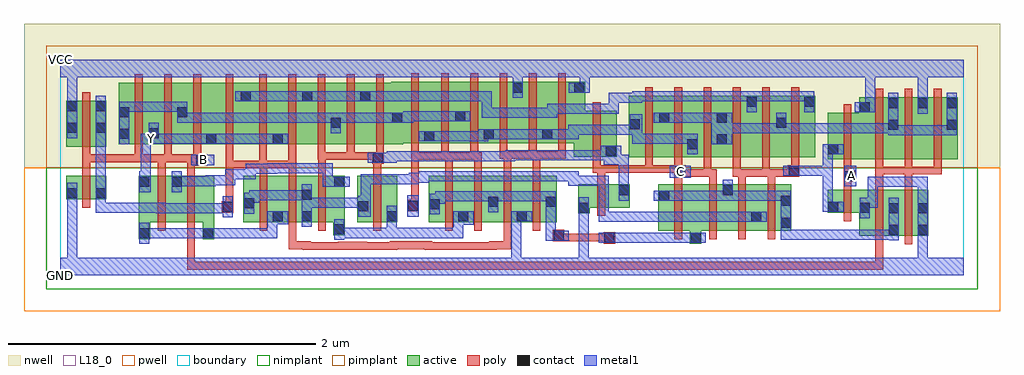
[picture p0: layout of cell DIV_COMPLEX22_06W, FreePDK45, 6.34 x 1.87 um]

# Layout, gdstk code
import gdstk
lib = gdstk.Library(unit=1e-6, precision=1e-09)
def R(c, l, rs):  # rectangles x0, y0, x1, y1
    for r in rs: c.add(gdstk.rectangle(r[:2], r[2:], *l))
def A(c, l, x, y, w, h, nx, ny, dx, dy):  # array of equal rectangles
    R(c, l, [(x+i*dx, y+j*dy, x+i*dx+w, y+j*dy+h) for i in range(nx) for j in range(ny)])
active = (1, 0)
pwell = (2, 0)
nwell = (3, 0)
nimplant = (4, 0)
pimplant = (5, 0)
poly = (9, 0)
contact = (10, 0)
metal1 = (11, 0)
L18_0 = (18, 0)
boundary = (235, 0)

div_complex22_06w = lib.new_cell('DIV_COMPLEX22_06W')
R(div_complex22_06w, active, [(4.09,0.205,4.165,0.42), (0.51,0.235,0.585,0.645), (0.925,0.235,1,0.535), (5.19,0.257,5.452,0.557), (5.377,0.257,5.64,0.557), (5.377,0.257,5.452,0.482), (5.565,0.257,5.64,0.557), (1.775,0.26,1.85,0.645), (3.885,0.29,4.165,0.59), (4.09,0.29,4.375,0.59), (4.3,0.29,4.56,0.59), (4.485,0.29,4.75,0.59), (4.485,0.29,4.56,0.517), (4.675,0.29,4.75,0.59), (4.3,0.33,4.375,0.59), (5.19,0.33,5.265,0.482), (0.51,0.345,0.795,0.645), (0.72,0.345,0.795,0.645), (0.72,0.345,1,0.645), (1.19,0.345,1.265,0.645), (1.19,0.345,1.45,0.645), (1.375,0.345,1.64,0.645), (1.375,0.345,1.45,0.55), (1.565,0.345,1.64,0.645), (1.565,0.345,1.85,0.645), (1.93,0.345,2.005,0.645), (1.93,0.345,2.19,0.645), (2.115,0.345,2.19,0.55), (2.395,0.345,2.657,0.645), (2.395,0.345,2.47,0.55), (2.582,0.345,2.657,0.42), (2.582,0.345,2.85,0.645), (2.775,0.345,3.035,0.645), (2.775,0.345,2.85,0.55), (2.96,0.345,3.225,0.645), (2.96,0.345,3.035,0.42), (3.15,0.345,3.225,0.645), (3.885,0.345,3.96,0.59), (3.365,0.402,3.44,0.59), (4.985,0.407,5.265,0.557), (4.985,0.407,5.06,0.557), (3.365,0.44,3.7,0.59), (3.625,0.46,3.7,0.59), (0.04,0.495,0.115,0.645), (0.04,0.495,0.3,0.645), (0.225,0.495,0.3,0.645), (4.985,0.755,5.265,1.055), (5.19,0.755,5.45,1.155), (5.375,0.755,5.45,1.155), (5.375,0.755,5.64,1.155), (5.565,0.755,5.83,1.155), (5.755,0.755,5.83,1.155), (3.695,0.765,3.96,1.165), (3.695,0.765,3.77,1.07), (3.885,0.765,4.145,1.165), (4.07,0.765,4.335,1.165), (4.26,0.765,4.335,1.07), (4.26,0.765,4.53,1.165), (4.455,0.765,4.53,1.165), (4.455,0.765,4.72,1.165), (4.645,0.765,4.905,1.165), (4.645,0.765,4.72,1.07), (3.335,0.77,3.615,1.07), (3.54,0.77,3.615,0.917), (4.985,0.78,5.06,0.94), (4.07,0.815,4.145,0.94), (0.04,0.835,0.115,1.135), (0.04,0.835,0.3,1.135), (0.225,0.835,0.3,1.135), (0.38,0.85,0.645,1.25), (0.38,0.85,0.455,1.19), (0.57,0.85,0.83,1.25), (0.755,0.85,1.02,1.25), (0.945,0.85,1.02,1.07), (0.945,0.85,1.242,1.25), (1.167,0.85,1.45,1.25), (1.375,0.85,1.642,1.25), (1.375,0.85,1.45,0.94), (1.567,0.85,1.827,1.25), (1.567,0.85,1.642,1.2), (1.752,0.85,1.827,1.07), (1.752,0.85,2.02,1.25), (1.945,0.85,2.227,1.25), (3.885,0.85,3.96,1.07), (2.152,0.857,2.435,1.257), (2.152,0.857,2.227,1.07), (2.36,0.857,2.635,1.257), (2.56,0.857,2.82,1.257), (2.745,0.857,3.01,1.257), (2.935,0.857,3.2,1.257), (3.125,0.857,3.41,1.257), (2.36,0.865,2.435,0.94), (2.745,0.865,2.82,1.07), (3.125,0.865,3.2,1.07), (5.19,0.865,5.265,1.13), (5.565,0.865,5.64,1.155), (0.57,0.885,0.645,1.07), (2.56,0.885,2.635,1.07), (0.755,0.907,0.83,1.2), (1.167,0.907,1.242,1.2), (1.945,0.907,2.02,1.2), (2.935,0.907,3.01,1.257), (3.335,0.907,3.41,1.257), (4.83,0.907,4.905,1.165)])
R(div_complex22_06w, pwell, [(-0.235,-0.235,6.105,0.7)])
R(div_complex22_06w, nwell, [(-0.235,0.7,6.105,1.635)])
R(div_complex22_06w, nimplant, [(-0.09,-0.09,5.96,0.7)])
R(div_complex22_06w, pimplant, [(-0.09,0.7,5.96,1.49)])
A(div_complex22_06w, poly, 4.215, 0.235, 0.05, 0.41, 3, 1, 0.19, 0)
A(div_complex22_06w, poly, 1.295, 0.29, 0.05, 0.41, 3, 1, 0.19, 0)
A(div_complex22_06w, poly, 2.5, 0.29, 0.05, 0.41, 4, 1, 0.19, 0)
A(div_complex22_06w, poly, 4.215, 0.595, 0.05, 0.095, 3, 1, 0.19, 0)
A(div_complex22_06w, poly, 4.18, 0.64, 0.05, 0.12, 3, 1, 0.19, 0)
A(div_complex22_06w, poly, 4.18, 0.64, 0.085, 0.05, 3, 1, 0.19, 0)
A(div_complex22_06w, poly, 5.295, 0.655, 0.05, 0.095, 3, 1, 0.19, 0)
A(div_complex22_06w, poly, 5.295, 0.7, 0.05, 0.51, 3, 1, 0.19, 0)
A(div_complex22_06w, poly, 3.8, 0.71, 0.05, 0.51, 6, 1, 0.19, 0)
A(div_complex22_06w, poly, 0.485, 0.735, 0.05, 0.11, 3, 1, 0.19, 0)
A(div_complex22_06w, poly, 1.672, 0.75, 0.05, 0.095, 3, 1, 0.19, 0)
A(div_complex22_06w, poly, 2.855, 0.757, 0.05, 0.095, 3, 1, 0.19, 0)
A(div_complex22_06w, poly, 0.485, 0.795, 0.05, 0.51, 3, 1, 0.19, 0)
A(div_complex22_06w, poly, 1.292, 0.795, 0.05, 0.51, 5, 1, 0.19, 0)
A(div_complex22_06w, poly, 2.475, 0.802, 0.05, 0.51, 5, 1, 0.19, 0)
R(div_complex22_06w, poly, [(0.825,0.037,0.875,0.087), (0.825,0.037,1.125,0.087), (0.825,0.037,0.875,0.34), (1.075,0.037,1.125,0.087), (1.075,0.037,1.125,0.087), (1.075,0.037,1.125,0.087), (1.075,0.037,1.257,0.087), (1.207,0.037,1.257,0.087), (1.207,0.037,1.257,0.087), (1.207,0.037,1.257,0.087), (1.207,0.037,1.257,0.087), (1.207,0.037,1.257,0.087), (1.207,0.037,1.495,0.087), (1.445,0.037,1.495,0.087), (1.445,0.037,1.495,0.087), (1.445,0.037,1.495,0.087), (1.445,0.037,1.725,0.087), (1.675,0.037,1.725,0.087), (1.675,0.037,1.725,0.087), (1.675,0.037,1.725,0.087), (1.675,0.037,1.857,0.087), (1.807,0.037,1.857,0.087), (1.807,0.037,1.857,0.087), (1.807,0.037,1.857,0.087), (1.807,0.037,2.057,0.087), (2.007,0.037,2.057,0.087), (2.007,0.037,2.057,0.087), (2.007,0.037,2.057,0.087), (2.007,0.037,2.19,0.087), (2.14,0.037,2.19,0.087), (2.14,0.037,2.322,0.087), (2.272,0.037,2.322,0.087), (2.272,0.037,2.322,0.087), (2.272,0.037,2.322,0.087), (2.272,0.037,2.582,0.087), (2.532,0.037,2.582,0.087), (2.532,0.037,2.582,0.087), (2.532,0.037,2.582,0.087), (2.532,0.037,2.772,0.087), (2.722,0.037,2.772,0.087), (2.722,0.037,2.932,0.087), (2.882,0.037,2.932,0.087), (2.882,0.037,2.932,0.087), (2.882,0.037,2.932,0.087), (2.882,0.037,3.117,0.087), (3.067,0.037,3.117,0.087), (3.067,0.037,3.117,0.087), (3.067,0.037,3.117,0.087), (3.067,0.037,3.362,0.087), (3.312,0.037,3.362,0.087), (3.312,0.037,3.362,0.087), (3.312,0.037,3.362,0.087), (3.312,0.037,3.362,0.087), (3.312,0.037,3.362,0.087), (3.312,0.037,3.495,0.087), (3.445,0.037,3.495,0.087), (3.445,0.037,3.717,0.087), (3.667,0.037,3.717,0.087), (3.667,0.037,3.717,0.087), (3.667,0.037,3.717,0.087), (3.667,0.037,3.85,0.087), (3.8,0.037,3.85,0.087), (3.8,0.037,3.85,0.087), (3.8,0.037,3.85,0.087), (3.8,0.037,3.982,0.087), (3.932,0.037,3.982,0.087), (3.932,0.037,3.982,0.087), (3.932,0.037,3.982,0.087), (3.932,0.037,4.287,0.087), (4.237,0.037,4.287,0.087), (4.237,0.037,4.287,0.087), (4.237,0.037,4.287,0.087), (4.237,0.037,4.42,0.087), (4.37,0.037,4.42,0.087), (4.37,0.037,4.42,0.087), (4.37,0.037,4.42,0.087), (4.37,0.037,4.645,0.087), (4.595,0.037,4.645,0.087), (4.595,0.037,4.645,0.087), (4.595,0.037,4.645,0.087), (4.595,0.037,4.777,0.087), (4.727,0.037,4.777,0.087), (4.727,0.037,4.91,0.087), (4.86,0.037,4.91,0.087), (4.86,0.037,4.91,0.087), (4.86,0.037,4.91,0.087), (4.86,0.037,5.042,0.087), (4.992,0.037,5.042,0.087), (4.992,0.037,5.042,0.087), (4.992,0.037,5.042,0.087), (4.992,0.037,5.345,0.087), (5.295,0.037,5.345,0.087), (5.295,0.037,5.345,0.087), (5.295,0.037,5.345,0.087), (5.295,0.037,5.345,0.252), (1.577,0.165,1.627,0.22), (1.577,0.165,1.725,0.215), (1.675,0.165,1.725,0.215), (1.675,0.165,1.857,0.215), (1.807,0.165,1.857,0.217), (1.94,0.165,2.045,0.215), (1.94,0.165,1.99,0.217), (1.995,0.165,2.045,0.215), (1.995,0.165,2.19,0.215), (2.14,0.165,2.19,0.22), (2.367,0.165,2.417,0.22), (2.367,0.165,2.462,0.215), (2.412,0.165,2.462,0.215), (2.412,0.165,2.642,0.215), (2.592,0.165,2.642,0.215), (2.592,0.165,2.772,0.215), (2.722,0.165,2.772,0.215), (2.722,0.165,2.837,0.215), (2.787,0.165,2.837,0.22), (1.807,0.167,1.857,0.217), (1.807,0.167,1.857,0.217), (1.807,0.167,1.99,0.217), (1.485,0.17,1.535,0.22), (1.485,0.17,1.535,0.34), (1.485,0.17,1.627,0.22), (2.14,0.17,2.19,0.22), (2.14,0.17,2.19,0.22), (2.14,0.17,2.417,0.22), (2.787,0.17,2.93,0.22), (2.88,0.17,2.93,0.22), (2.88,0.17,2.93,0.34), (5.295,0.202,5.345,0.612), (5.485,0.202,5.535,0.612), (3.53,0.205,3.605,0.28), (3.2,0.22,3.275,0.295), (3.225,0.22,3.58,0.27), (3.53,0.22,3.58,0.27), (3.53,0.22,3.58,0.27), (3.99,0.235,4.04,0.645), (0.635,0.29,0.685,0.7), (0.825,0.29,0.875,0.7), (2.035,0.29,2.085,0.7), (5.09,0.352,5.14,0.612), (3.49,0.385,3.54,0.645), (1.05,0.407,1.125,0.482), (2.255,0.415,2.33,0.49), (1.075,0.432,1.125,0.745), (0.145,0.44,0.195,0.7), (2.28,0.44,2.33,0.8), (5.09,0.562,5.14,0.657), (5.295,0.562,5.345,0.705), (5.485,0.562,5.535,0.705), (3.49,0.595,3.54,0.715), (3.99,0.595,4.04,0.69), (5.09,0.607,5.165,0.682), (5.09,0.632,5.14,0.75), (3.99,0.64,4.065,0.715), (4.015,0.64,4.23,0.69), (4.18,0.64,4.23,0.69), (4.18,0.64,4.23,0.69), (4.405,0.64,4.61,0.69), (4.56,0.64,4.61,0.69), (4.56,0.64,4.61,0.69), (4.595,0.64,4.777,0.69), (4.727,0.64,4.777,0.69), (4.727,0.64,4.777,0.69), (4.727,0.64,4.802,0.715), (0.145,0.65,0.195,0.785), (0.635,0.65,0.685,0.785), (0.825,0.65,0.875,0.76), (1.295,0.65,1.345,0.745), (1.485,0.65,1.535,0.745), (1.675,0.65,1.725,0.8), (2.035,0.65,2.085,0.775), (2.5,0.65,2.55,0.8), (2.69,0.65,2.74,0.8), (2.88,0.65,2.93,0.807), (3.07,0.65,3.12,0.807), (5.295,0.655,5.345,0.705), (5.295,0.655,5.535,0.705), (5.485,0.655,5.535,0.705), (5.485,0.655,5.535,0.705), (5.485,0.655,5.535,0.705), (5.485,0.655,5.725,0.705), (5.675,0.655,5.725,0.705), (5.675,0.655,5.725,0.705), (5.675,0.655,5.725,0.705), (3.46,0.665,3.51,0.765), (3.46,0.665,3.54,0.715), (3.49,0.665,3.717,0.715), (3.667,0.665,3.717,0.715), (3.667,0.665,3.85,0.715), (3.8,0.665,3.85,0.76), (3.8,0.665,3.85,0.715), (3.8,0.665,3.85,0.715), (3.8,0.665,3.85,0.715), (3.8,0.665,4.04,0.715), (3.99,0.665,4.04,0.76), (3.99,0.665,4.04,0.715), (3.99,0.665,4.04,0.715), (4.75,0.665,4.8,0.76), (1.075,0.695,1.125,0.745), (1.075,0.695,1.125,0.745), (1.075,0.695,1.125,0.745), (1.075,0.695,1.125,0.845), (1.075,0.695,1.342,0.745), (1.292,0.695,1.342,0.745), (1.292,0.695,1.342,0.745), (1.292,0.695,1.342,0.845), (1.292,0.695,1.345,0.745), (1.295,0.695,1.495,0.745), (1.445,0.695,1.495,0.745), (1.445,0.695,1.532,0.745), (1.482,0.695,1.532,0.845), (1.482,0.695,1.535,0.745), (5.09,0.7,5.14,1.11), (0.825,0.71,0.955,0.785), (3.46,0.715,3.51,1.125), (2.027,0.725,2.102,0.8), (0.145,0.735,0.195,0.83), (0.145,0.735,0.195,0.785), (0.145,0.735,0.195,0.785), (0.145,0.735,0.195,0.785), (0.145,0.735,0.535,0.785), (0.485,0.735,0.535,0.785), (0.485,0.735,0.535,0.785), (0.485,0.735,0.535,0.785), (0.485,0.735,0.685,0.785), (0.635,0.735,0.685,0.785), (0.635,0.735,0.685,0.785), (0.635,0.735,0.725,0.785), (0.675,0.735,0.875,0.785), (0.825,0.735,0.875,0.785), (0.825,0.735,0.875,0.785), (1.672,0.75,1.725,0.8), (1.675,0.75,1.857,0.8), (1.807,0.75,1.857,0.8), (1.807,0.75,1.912,0.8), (1.862,0.75,1.912,0.8), (1.862,0.75,2.057,0.8), (2.007,0.75,2.057,0.8), (2.007,0.75,2.077,0.8), (2.28,0.75,2.33,0.8), (2.28,0.75,2.33,0.8), (2.28,0.75,2.33,0.8), (2.28,0.75,2.33,0.8), (2.28,0.75,2.33,0.8), (2.28,0.75,2.33,0.852), (2.28,0.75,2.525,0.8), (2.475,0.75,2.55,0.8), (2.475,0.75,2.525,0.852), (2.5,0.75,2.55,0.8), (2.5,0.75,2.55,0.8), (2.5,0.75,2.715,0.8), (2.665,0.75,2.74,0.8), (2.665,0.75,2.715,0.852), (2.855,0.757,2.93,0.807), (2.88,0.757,3.095,0.807), (3.045,0.757,3.095,0.807), (3.045,0.757,3.095,0.807), (3.045,0.757,3.12,0.807), (3.07,0.757,3.285,0.807), (3.235,0.757,3.285,0.807), (3.235,0.757,3.285,0.807), (3.235,0.757,3.285,0.807), (0.145,0.78,0.195,1.19), (1.075,0.795,1.125,1.305), (2.28,0.802,2.33,1.312)])
A(div_complex22_06w, contact, 5.38, 1.085, 0.065, 0.065, 3, 1, 0.19, 0)
R(div_complex22_06w, contact, [(3.535,0.21,3.6,0.275), (4.095,0.21,4.16,0.275), (3.205,0.225,3.27,0.29), (0.515,0.24,0.58,0.305), (0.93,0.24,0.995,0.305), (5.382,0.262,5.447,0.327), (5.57,0.262,5.635,0.327), (1.78,0.265,1.845,0.33), (4.68,0.31,4.745,0.375), (4.49,0.347,4.555,0.412), (1.38,0.35,1.445,0.415), (1.57,0.35,1.635,0.415), (2.12,0.35,2.185,0.415), (2.587,0.35,2.652,0.415), (2.965,0.35,3.03,0.415), (5.382,0.402,5.447,0.467), (5.57,0.402,5.635,0.467), (5.195,0.405,5.26,0.47), (3.37,0.407,3.435,0.472), (1.055,0.412,1.12,0.477), (4.99,0.412,5.055,0.477), (1.935,0.415,2,0.48), (2.26,0.42,2.325,0.485), (2.4,0.43,2.465,0.495), (1.195,0.435,1.26,0.5), (2.78,0.445,2.845,0.51), (3.155,0.445,3.22,0.51), (4.68,0.45,4.745,0.515), (3.89,0.485,3.955,0.55), (1.57,0.49,1.635,0.555), (0.045,0.5,0.11,0.565), (0.23,0.5,0.295,0.565), (3.63,0.52,3.695,0.585), (4.305,0.52,4.37,0.585), (0.515,0.575,0.58,0.64), (0.725,0.575,0.79,0.64), (1.78,0.575,1.845,0.64), (5.095,0.612,5.16,0.677), (3.995,0.645,4.06,0.71), (4.732,0.645,4.797,0.71), (0.885,0.715,0.95,0.78), (2.032,0.73,2.097,0.795), (3.545,0.775,3.61,0.84), (4.99,0.785,5.055,0.85), (4.075,0.82,4.14,0.885), (4.265,0.852,4.33,0.917), (0.95,0.855,1.015,0.92), (1.38,0.855,1.445,0.92), (2.365,0.87,2.43,0.935), (2.75,0.885,2.815,0.95), (3.13,0.885,3.195,0.95), (0.385,0.887,0.45,0.952), (0.575,0.89,0.64,0.955), (0.045,0.925,0.11,0.99), (0.23,0.925,0.295,0.99), (5.38,0.945,5.445,1.01), (5.76,0.945,5.825,1.01), (3.7,0.947,3.765,1.012), (1.757,0.957,1.822,1.022), (4.65,0.957,4.715,1.022), (2.157,0.992,2.222,1.057), (3.89,0.992,3.955,1.057), (4.265,0.992,4.33,1.057), (2.565,1,2.63,1.065), (0.385,1.027,0.45,1.092), (0.76,1.027,0.825,1.092), (5.195,1.06,5.26,1.125), (0.045,1.065,0.11,1.13), (0.23,1.065,0.295,1.13), (4.46,1.095,4.525,1.16), (4.835,1.095,4.9,1.16), (1.172,1.13,1.237,1.195), (1.572,1.13,1.637,1.195), (1.95,1.13,2.015,1.195), (2.94,1.187,3.005,1.252), (3.34,1.187,3.405,1.252)])
R(div_complex22_06w, metal1, [(0,0,5.87,0.115), (0.045,0.05,0.11,0.115), (0.045,0.05,0.11,0.115), (0.045,0.05,0.11,0.115), (0.045,0.05,0.11,0.115), (0.045,0.05,0.11,0.115), (0.045,0.05,0.11,0.115), (0.045,0.05,0.11,0.53), (2.93,0.05,2.995,0.115), (2.93,0.05,2.995,0.115), (2.93,0.05,2.995,0.115), (2.93,0.05,2.995,0.115), (2.93,0.05,2.995,0.415), (3.37,0.05,3.435,0.115), (3.37,0.05,3.435,0.115), (3.37,0.05,3.435,0.115), (3.37,0.05,3.435,0.115), (3.37,0.05,3.435,0.115), (3.37,0.05,3.435,0.115), (3.37,0.05,3.435,0.437), (5.57,0.05,5.635,0.292), (0.515,0.205,0.58,0.34), (3.5,0.21,3.635,0.275), (3.57,0.21,3.635,0.275), (3.57,0.21,3.635,0.275), (3.57,0.21,3.782,0.275), (3.717,0.21,3.782,0.275), (3.717,0.21,3.782,0.275), (3.717,0.21,3.782,0.275), (3.717,0.21,3.987,0.275), (3.922,0.21,3.987,0.275), (3.922,0.21,4.125,0.275), (4.06,0.21,4.125,0.275), (4.06,0.21,4.125,0.275), (4.06,0.21,4.195,0.275), (3.155,0.225,3.22,0.29), (3.155,0.225,3.235,0.29), (3.155,0.225,3.22,0.475), (3.17,0.225,3.305,0.29), (5.382,0.227,5.447,0.502), (5.57,0.227,5.635,0.292), (5.57,0.227,5.635,0.292), (5.57,0.227,5.635,0.292), (5.57,0.227,5.635,0.292), (5.57,0.227,5.635,0.502), (1.78,0.23,1.845,0.365), (4.68,0.232,4.745,0.297), (4.68,0.232,4.745,0.297), (4.68,0.232,4.745,0.297), (4.68,0.232,5.02,0.297), (4.68,0.232,4.745,0.34), (4.955,0.232,5.02,0.297), (4.955,0.232,5.02,0.297), (4.955,0.232,5.02,0.297), (4.955,0.232,5.02,0.297), (4.955,0.232,5.02,0.297), (4.955,0.232,5.157,0.297), (5.092,0.232,5.157,0.297), (5.092,0.232,5.157,0.297), (5.092,0.232,5.157,0.297), (5.092,0.232,5.447,0.297), (5.382,0.232,5.447,0.297), (5.382,0.232,5.447,0.297), (0.515,0.24,0.587,0.305), (0.522,0.24,0.587,0.305), (0.522,0.24,0.822,0.305), (0.757,0.24,0.822,0.305), (0.757,0.24,0.822,0.305), (0.757,0.24,0.822,0.305), (0.757,0.24,0.96,0.305), (0.895,0.24,1.03,0.305), (0.965,0.24,1.03,0.305), (0.965,0.24,1.03,0.305), (0.965,0.24,1.187,0.305), (1.122,0.24,1.187,0.305), (1.122,0.24,1.41,0.305), (1.345,0.24,1.41,0.397), (1.78,0.242,1.91,0.307), (1.845,0.242,1.91,0.307), (1.845,0.242,2.047,0.307), (1.982,0.242,2.047,0.307), (1.982,0.242,2.047,0.307), (1.982,0.242,2.047,0.307), (1.982,0.242,2.185,0.307), (2.12,0.242,2.287,0.307), (2.12,0.242,2.185,0.45), (2.222,0.242,2.287,0.307), (2.222,0.242,2.395,0.307), (2.33,0.242,2.395,0.307), (2.33,0.242,2.617,0.307), (2.552,0.242,2.617,0.392), (4.68,0.275,4.745,0.55), (1.57,0.315,1.635,0.59), (2.552,0.327,2.617,0.392), (2.552,0.327,2.687,0.415), (1.345,0.332,1.41,0.397), (1.345,0.332,1.48,0.415), (3.5,0.347,3.565,0.412), (3.5,0.347,3.565,0.645), (3.5,0.347,3.575,0.412), (3.51,0.347,3.575,0.412), (3.51,0.347,3.782,0.412), (3.717,0.347,3.782,0.412), (3.717,0.347,3.782,0.412), (3.717,0.347,3.782,0.412), (3.717,0.347,3.987,0.412), (3.922,0.347,3.987,0.412), (3.922,0.347,3.987,0.412), (3.922,0.347,3.987,0.412), (3.922,0.347,4.127,0.412), (4.062,0.347,4.127,0.412), (4.062,0.347,4.265,0.412), (4.2,0.347,4.265,0.412), (4.2,0.347,4.265,0.412), (4.2,0.347,4.265,0.412), (4.2,0.347,4.432,0.412), (4.367,0.347,4.432,0.412), (4.367,0.347,4.52,0.412), (4.455,0.347,4.59,0.412), (2.93,0.35,3.065,0.415), (5.195,0.37,5.26,0.505), (3.37,0.372,3.435,0.507), (1.055,0.377,1.12,0.512), (1.935,0.38,2.017,0.515), (2.255,0.38,2.33,0.52), (2.4,0.395,2.465,0.53), (1.195,0.4,1.26,0.535), (0.62,0.402,0.822,0.467), (0.62,0.402,0.685,0.472), (0.757,0.402,0.822,0.467), (0.757,0.402,0.822,0.467), (0.757,0.402,0.822,0.467), (0.757,0.402,1.05,0.467), (0.985,0.402,1.05,0.467), (0.985,0.402,1.12,0.467), (0.23,0.407,0.295,0.472), (0.23,0.407,0.432,0.472), (0.23,0.407,0.295,0.53), (0.367,0.407,0.432,0.472), (0.367,0.407,0.587,0.472), (0.522,0.407,0.587,0.472), (0.522,0.407,0.685,0.472), (2.78,0.41,2.845,0.545), (3.155,0.41,3.22,0.545), (4.955,0.412,5.09,0.477), (4.955,0.412,5.02,0.71), (1.57,0.437,1.772,0.502), (1.707,0.437,1.772,0.502), (1.707,0.437,1.842,0.502), (1.777,0.437,1.842,0.502), (1.777,0.437,1.91,0.502), (1.845,0.437,1.91,0.502), (1.845,0.437,2,0.502), (5.57,0.437,5.635,0.64), (5.195,0.44,5.31,0.505), (5.245,0.44,5.31,0.64), (1.952,0.45,2.017,0.657), (0.045,0.465,0.11,0.6), (0.23,0.465,0.295,0.53), (0.23,0.465,0.295,0.53), (0.23,0.465,0.295,0.6), (2.4,0.465,2.502,0.53), (2.437,0.465,2.502,0.545), (1.195,0.47,1.292,0.535), (1.227,0.47,1.292,0.552), (2.437,0.48,2.602,0.545), (2.537,0.48,2.602,0.545), (2.537,0.48,2.755,0.545), (2.69,0.48,2.755,0.545), (2.69,0.48,2.845,0.545), (2.78,0.48,2.94,0.545), (2.875,0.48,2.94,0.545), (2.875,0.48,3.022,0.545), (2.957,0.48,3.022,0.545), (2.957,0.48,3.092,0.545), (3.027,0.48,3.092,0.545), (3.027,0.48,3.22,0.545), (3.63,0.485,3.695,0.62), (3.855,0.485,3.99,0.55), (3.925,0.485,3.99,0.55), (3.925,0.485,3.99,0.55), (3.925,0.485,4.127,0.55), (4.062,0.485,4.127,0.55), (4.062,0.485,4.295,0.55), (4.23,0.485,4.295,0.55), (4.23,0.485,4.37,0.55), (4.305,0.485,4.37,0.62), (4.305,0.485,4.432,0.55), (4.367,0.485,4.432,0.55), (4.367,0.485,4.577,0.55), (4.512,0.485,4.577,0.55), (4.512,0.485,4.577,0.55), (4.512,0.485,4.577,0.55), (4.512,0.485,4.745,0.55), (1.227,0.487,1.41,0.552), (1.345,0.487,1.41,0.552), (1.345,0.487,1.635,0.552), (1.57,0.487,1.635,0.552), (1.57,0.487,1.635,0.552), (0.23,0.535,0.295,0.6), (0.23,0.535,0.295,0.6), (0.23,0.535,0.295,0.955), (0.515,0.54,0.587,0.675), (0.725,0.54,0.79,0.675), (3.63,0.555,3.695,0.782), (1.707,0.575,1.81,0.64), (1.707,0.575,1.772,0.727), (1.745,0.575,1.88,0.64), (5.245,0.575,5.397,0.64), (5.332,0.575,5.397,0.64), (5.332,0.575,5.635,0.64), (5.57,0.575,5.635,0.64), (5.57,0.575,5.635,0.64), (5.57,0.575,5.635,0.64), (0.725,0.577,0.822,0.642), (0.757,0.577,0.822,0.642), (0.757,0.577,1.012,0.642), (0.947,0.577,1.012,0.65), (5.092,0.577,5.172,0.712), (3.302,0.58,3.367,0.645), (3.302,0.58,3.367,0.645), (3.302,0.58,3.367,0.675), (3.302,0.58,3.565,0.645), (3.5,0.58,3.565,0.645), (0.947,0.585,1.137,0.65), (1.072,0.585,1.137,0.69), (1.952,0.592,2.017,0.657), (1.952,0.592,2.047,0.657), (1.982,0.592,2.047,0.657), (1.982,0.592,2.187,0.657), (2.122,0.592,2.187,0.657), (2.122,0.592,2.33,0.657), (2.265,0.592,2.33,0.667), (2.265,0.602,2.395,0.667), (2.33,0.602,2.395,0.675), (0.522,0.61,0.587,0.92), (2.33,0.61,2.602,0.675), (2.537,0.61,2.602,0.675), (2.537,0.61,2.602,0.675), (2.537,0.61,2.602,0.675), (2.537,0.61,2.755,0.675), (2.69,0.61,2.755,0.675), (2.69,0.61,2.755,0.675), (2.69,0.61,2.755,0.675), (2.69,0.61,2.955,0.675), (2.89,0.61,2.955,0.675), (2.89,0.61,2.987,0.675), (2.922,0.61,2.987,0.675), (2.922,0.61,3.092,0.675), (3.027,0.61,3.092,0.675), (3.027,0.61,3.16,0.675), (3.095,0.61,3.16,0.675), (3.095,0.61,3.367,0.675), (1.072,0.625,1.272,0.69), (1.207,0.625,1.272,0.725), (3.96,0.632,4.095,0.71), (4.697,0.645,4.832,0.71), (4.767,0.645,5.02,0.71), (4.955,0.645,5.02,0.71), (4.955,0.645,5.02,0.71), (4.955,0.645,5.02,0.71), (4.955,0.645,5.02,0.85), (1.207,0.66,1.41,0.725), (1.345,0.66,1.41,0.725), (1.345,0.66,1.41,0.725), (1.345,0.66,1.41,0.727), (1.345,0.662,1.547,0.727), (1.482,0.662,1.547,0.727), (1.482,0.662,1.547,0.727), (1.482,0.662,1.547,0.727), (1.482,0.662,1.772,0.727), (0.85,0.715,1,0.782), (3.532,0.717,3.645,0.782), (3.532,0.717,3.597,0.812), (3.58,0.717,3.695,0.782), (3.58,0.717,3.645,0.84), (1.997,0.73,2.132,0.795), (2.067,0.73,2.187,0.795), (2.122,0.73,2.187,0.805), (2.122,0.74,2.287,0.805), (2.222,0.74,2.287,0.805), (2.222,0.74,2.395,0.805), (2.33,0.74,2.395,0.805), (2.33,0.74,2.617,0.805), (2.552,0.74,2.617,0.805), (2.552,0.74,2.617,0.805), (2.552,0.74,2.617,0.805), (2.552,0.74,2.755,0.805), (2.69,0.74,2.755,0.805), (2.69,0.74,2.755,0.805), (2.69,0.74,2.755,0.805), (2.69,0.74,2.955,0.805), (2.89,0.74,2.955,0.812), (2.89,0.747,3.022,0.812), (2.957,0.747,3.022,0.812), (2.957,0.747,3.092,0.812), (3.027,0.747,3.092,0.812), (3.027,0.747,3.16,0.812), (3.095,0.747,3.16,0.812), (3.095,0.747,3.427,0.812), (3.362,0.747,3.427,0.812), (3.362,0.747,3.427,0.812), (3.362,0.747,3.427,0.812), (3.362,0.747,3.597,0.812), (3.51,0.775,3.645,0.84), (4.075,0.785,4.14,0.92), (4.955,0.785,5.09,0.85), (0.385,0.852,0.45,1.127), (4.23,0.852,4.365,1.057), (0.522,0.855,0.657,0.92), (0.575,0.855,0.64,0.92), (0.575,0.855,0.64,0.92), (0.575,0.855,0.64,0.92), (0.575,0.855,0.64,0.99), (0.575,0.855,0.822,0.92), (0.757,0.855,0.822,0.92), (0.757,0.855,0.822,0.92), (0.757,0.855,0.822,0.92), (0.757,0.855,0.98,0.92), (0.915,0.855,1.05,0.92), (0.985,0.855,1.05,0.92), (0.985,0.855,1.05,0.92), (0.985,0.855,1.187,0.92), (1.122,0.855,1.187,0.92), (1.122,0.855,1.41,0.92), (1.345,0.855,1.41,0.92), (1.345,0.855,1.41,0.92), (1.345,0.855,1.48,0.92), (3.717,0.855,3.782,0.92), (3.717,0.855,3.782,0.92), (3.717,0.855,3.782,0.92), (3.717,0.855,3.987,0.92), (3.717,0.855,3.782,0.977), (3.922,0.855,3.987,0.92), (3.922,0.855,3.987,0.92), (3.922,0.855,3.987,0.92), (3.922,0.855,4.14,0.92), (2.33,0.87,2.465,0.935), (2.4,0.87,2.602,0.935), (2.537,0.87,2.602,0.935), (2.537,0.87,2.602,0.935), (2.537,0.87,2.602,0.935), (2.537,0.87,2.78,0.935), (2.715,0.87,2.78,0.95), (2.715,0.885,2.78,0.95), (2.715,0.885,2.85,0.95), (2.785,0.885,2.94,0.95), (2.875,0.885,2.94,0.95), (2.875,0.885,3.022,0.95), (2.957,0.885,3.022,0.95), (2.957,0.885,3.092,0.95), (3.027,0.885,3.092,0.95), (3.027,0.885,3.16,0.95), (3.095,0.885,3.23,0.95), (3.165,0.885,3.23,0.95), (3.165,0.885,3.23,0.95), (3.165,0.885,3.23,0.95), (3.165,0.885,3.23,0.95), (3.165,0.885,3.367,0.95), (3.302,0.885,3.367,0.977), (0.045,0.89,0.11,1.165), (0.23,0.89,0.295,1.165), (5.38,0.91,5.445,1.185), (5.38,0.91,5.587,0.975), (5.522,0.91,5.587,0.975), (5.522,0.91,5.587,0.975), (5.522,0.91,5.587,0.975), (5.522,0.91,5.825,0.975), (5.76,0.91,5.825,0.975), (5.76,0.91,5.825,0.975), (5.76,0.91,5.825,1.185), (3.302,0.912,3.572,0.977), (3.507,0.912,3.572,0.977), (3.507,0.912,3.572,0.977), (3.507,0.912,3.572,0.977), (3.507,0.912,3.765,0.977), (3.7,0.912,3.782,1.047), (1.757,0.922,1.822,1.057), (4.3,0.922,4.432,0.987), (4.367,0.922,4.432,0.987), (4.367,0.922,4.577,0.987), (4.512,0.922,4.577,0.987), (4.512,0.922,4.577,0.987), (4.512,0.922,4.577,0.987), (4.512,0.922,4.715,0.987), (4.65,0.922,4.715,1.057), (4.65,0.922,4.727,0.987), (4.662,0.922,4.727,0.987), (4.662,0.922,5.02,0.987), (4.955,0.922,5.02,0.987), (4.955,0.922,5.02,0.987), (4.955,0.922,5.02,0.987), (4.955,0.922,5.157,0.987), (5.092,0.922,5.157,0.987), (5.092,0.922,5.157,0.987), (5.092,0.922,5.157,0.987), (5.092,0.922,5.445,0.987), (5.38,0.922,5.445,0.987), (5.38,0.922,5.445,0.987), (0.76,0.992,0.825,1.057), (0.76,0.992,0.825,1.057), (0.76,0.992,0.825,1.127), (0.76,0.992,1.05,1.057), (0.985,0.992,1.05,1.057), (0.985,0.992,1.05,1.057), (0.985,0.992,1.05,1.057), (0.985,0.992,1.272,1.057), (1.207,0.992,1.272,1.057), (1.207,0.992,1.41,1.057), (1.345,0.992,1.41,1.057), (1.345,0.992,1.41,1.057), (1.345,0.992,1.41,1.057), (1.345,0.992,1.635,1.057), (1.57,0.992,1.635,1.057), (1.57,0.992,1.635,1.057), (1.57,0.992,1.635,1.057), (1.57,0.992,1.772,1.057), (1.707,0.992,1.772,1.057), (1.707,0.992,1.822,1.057), (1.757,0.992,1.91,1.057), (1.845,0.992,1.91,1.057), (1.845,0.992,2.047,1.057), (1.982,0.992,2.047,1.057), (1.982,0.992,2.047,1.057), (1.982,0.992,2.047,1.057), (1.982,0.992,2.187,1.057), (2.122,0.992,2.257,1.057), (2.192,0.992,2.292,1.057), (2.227,0.992,2.292,1.065), (3.855,0.992,3.99,1.057), (3.925,0.992,4.127,1.057), (4.062,0.992,4.127,1.057), (4.062,0.992,4.127,1.057), (4.062,0.992,4.127,1.057), (4.062,0.992,4.295,1.057), (4.23,0.992,4.295,1.057), (4.23,0.992,4.295,1.057), (2.227,1,2.457,1.065), (2.392,1,2.457,1.065), (2.392,1,2.595,1.065), (2.53,1,2.595,1.065), (2.53,1,2.595,1.065), (2.53,1,2.665,1.065), (2.737,1.022,2.955,1.087), (2.737,1.022,2.802,1.195), (2.89,1.022,2.955,1.087), (2.89,1.022,3.022,1.087), (2.957,1.022,3.022,1.087), (2.957,1.022,3.092,1.087), (3.027,1.022,3.092,1.087), (3.027,1.022,3.23,1.087), (3.165,1.022,3.23,1.115), (3.165,1.05,3.367,1.115), (3.302,1.05,3.367,1.115), (3.302,1.05,3.367,1.115), (3.302,1.05,3.367,1.115), (3.302,1.05,3.627,1.115), (3.562,1.05,3.627,1.115), (3.562,1.05,3.627,1.115), (3.562,1.05,3.627,1.185), (5.57,1.05,5.635,1.185), (4.46,1.06,4.525,1.195), (4.835,1.06,4.9,1.195), (5.16,1.06,5.295,1.125), (5.23,1.06,5.295,1.35), (0.385,1.062,0.45,1.127), (0.385,1.062,0.45,1.127), (0.385,1.062,0.652,1.127), (0.587,1.062,0.652,1.127), (0.587,1.062,0.652,1.127), (0.587,1.062,0.652,1.127), (0.587,1.062,0.825,1.127), (0.045,1.1,0.11,1.35), (3.562,1.12,3.782,1.185), (3.717,1.12,3.782,1.195), (5.57,1.12,5.635,1.35), (1.137,1.13,1.272,1.195), (1.207,1.13,1.41,1.195), (1.345,1.13,1.41,1.195), (1.345,1.13,1.41,1.195), (1.345,1.13,1.41,1.195), (1.345,1.13,1.602,1.195), (1.537,1.13,1.602,1.195), (1.537,1.13,1.602,1.195), (1.537,1.13,1.672,1.195), (1.607,1.13,1.772,1.195), (1.707,1.13,1.772,1.195), (1.707,1.13,1.842,1.195), (1.777,1.13,1.842,1.195), (1.777,1.13,1.91,1.195), (1.845,1.13,1.91,1.195), (1.845,1.13,1.98,1.195), (1.915,1.13,2.05,1.195), (1.985,1.13,2.05,1.195), (1.985,1.13,2.05,1.195), (1.985,1.13,2.187,1.195), (2.122,1.13,2.187,1.195), (2.122,1.13,2.287,1.195), (2.222,1.13,2.287,1.195), (2.222,1.13,2.457,1.195), (2.392,1.13,2.457,1.195), (2.392,1.13,2.602,1.195), (2.537,1.13,2.602,1.195), (2.537,1.13,2.602,1.195), (2.537,1.13,2.602,1.195), (2.537,1.13,2.802,1.195), (2.737,1.13,2.802,1.195), (2.737,1.13,2.802,1.195), (3.717,1.13,3.782,1.195), (3.717,1.13,3.782,1.195), (3.717,1.13,3.987,1.195), (3.922,1.13,3.987,1.195), (3.922,1.13,3.987,1.195), (3.922,1.13,3.987,1.195), (3.922,1.13,4.127,1.195), (4.062,1.13,4.127,1.195), (4.062,1.13,4.295,1.195), (4.23,1.13,4.295,1.195), (4.23,1.13,4.295,1.195), (4.23,1.13,4.295,1.195), (4.23,1.13,4.432,1.195), (4.367,1.13,4.432,1.195), (4.367,1.13,4.525,1.195), (4.46,1.13,4.57,1.195), (4.505,1.13,4.57,1.195), (4.505,1.13,4.727,1.195), (4.662,1.13,4.727,1.195), (4.662,1.13,4.727,1.195), (4.662,1.13,4.727,1.195), (4.662,1.13,4.9,1.195), (2.94,1.152,3.005,1.287), (3.305,1.187,3.44,1.252), (3.375,1.187,3.44,1.35), (2.94,1.222,3.005,1.35), (0,1.285,5.87,1.4), (0.045,1.285,0.11,1.35), (0.045,1.285,0.11,1.35)])
R(div_complex22_06w, L18_0, [(0,0,5.87,0.115), (0.045,0.05,0.11,0.115), (0.045,0.05,0.11,0.115), (0.045,0.05,0.11,0.115), (0.045,0.05,0.11,0.115), (0.045,0.05,0.11,0.115), (0.045,0.05,0.11,0.115), (0.045,0.05,0.11,0.53), (2.93,0.05,2.995,0.115), (2.93,0.05,2.995,0.115), (2.93,0.05,2.995,0.115), (2.93,0.05,2.995,0.115), (2.93,0.05,2.995,0.415), (3.37,0.05,3.435,0.115), (3.37,0.05,3.435,0.115), (3.37,0.05,3.435,0.115), (3.37,0.05,3.435,0.115), (3.37,0.05,3.435,0.115), (3.37,0.05,3.435,0.115), (3.37,0.05,3.435,0.437), (5.57,0.05,5.635,0.292), (0.515,0.205,0.58,0.34), (5.57,0.227,5.635,0.292), (5.57,0.227,5.635,0.292), (5.57,0.227,5.635,0.292), (5.57,0.227,5.635,0.292), (5.57,0.227,5.635,0.502), (0.515,0.24,0.587,0.305), (0.522,0.24,0.587,0.305), (0.522,0.24,0.822,0.305), (0.757,0.24,0.822,0.305), (0.757,0.24,0.822,0.305), (0.757,0.24,0.822,0.305), (0.757,0.24,0.96,0.305), (0.895,0.24,1.03,0.305), (0.965,0.24,1.03,0.305), (0.965,0.24,1.03,0.305), (0.965,0.24,1.187,0.305), (1.122,0.24,1.187,0.305), (1.122,0.24,1.41,0.305), (1.345,0.24,1.41,0.397), (1.345,0.332,1.41,0.397), (1.345,0.332,1.48,0.415), (2.93,0.35,3.065,0.415), (5.195,0.37,5.26,0.505), (3.37,0.372,3.435,0.507), (2.255,0.38,2.33,0.52), (2.265,0.42,2.33,0.485), (5.57,0.437,5.635,0.64), (5.195,0.44,5.31,0.505), (5.245,0.44,5.31,0.64), (0.045,0.465,0.11,0.6), (0.515,0.54,0.587,0.675), (5.245,0.575,5.397,0.64), (5.332,0.575,5.397,0.64), (5.332,0.575,5.635,0.64), (5.57,0.575,5.635,0.64), (5.57,0.575,5.635,0.64), (5.57,0.575,5.635,0.64), (5.092,0.577,5.172,0.712), (0.522,0.61,0.587,0.92), (5.107,0.612,5.172,0.677), (3.96,0.632,4.095,0.71), (3.995,0.645,4.06,0.71), (0.85,0.715,1,0.782), (0.9,0.717,0.965,0.782), (0.522,0.855,0.657,0.92), (0.557,0.855,0.622,0.92), (0.575,0.855,0.64,0.92), (0.575,0.855,0.64,0.92), (0.575,0.855,0.64,0.92), (0.575,0.855,0.64,0.99), (0.575,0.855,0.822,0.92), (0.757,0.855,0.822,0.92), (0.757,0.855,0.822,0.92), (0.757,0.855,0.822,0.92), (0.757,0.855,0.98,0.92), (0.915,0.855,1.05,0.92), (0.985,0.855,1.05,0.92), (0.985,0.855,1.05,0.92), (0.985,0.855,1.187,0.92), (1.122,0.855,1.187,0.92), (1.122,0.855,1.41,0.92), (1.345,0.855,1.41,0.92), (1.345,0.855,1.41,0.92), (1.345,0.855,1.48,0.92), (0.045,0.89,0.11,1.165), (5.57,1.05,5.635,1.185), (5.16,1.06,5.295,1.125), (5.23,1.06,5.295,1.35), (0.045,1.1,0.11,1.35), (5.57,1.12,5.635,1.35), (2.94,1.152,3.005,1.287), (3.305,1.187,3.44,1.252), (3.375,1.187,3.44,1.35), (2.94,1.222,3.005,1.35), (0,1.285,5.87,1.4), (0.045,1.285,0.11,1.35), (0.045,1.285,0.11,1.35)])
R(div_complex22_06w, boundary, [(0,0,5.87,1.4)])
div_complex22_06w.add(gdstk.Label('A', (5.14,0.645), layer=11, texttype=0))
div_complex22_06w.add(gdstk.Label('B', (0.932,0.75), layer=11, texttype=0))
div_complex22_06w.add(gdstk.Label('C', (4.027,0.677), layer=11, texttype=0))
div_complex22_06w.add(gdstk.Label('Y', (0.59,0.887), layer=11, texttype=0))
div_complex22_06w.add(gdstk.Label('VCC', (0,1.4), layer=11, texttype=0))
div_complex22_06w.add(gdstk.Label('GND', (0,0), layer=11, texttype=0))

lib.write_gds('DIV_COMPLEX22_06W.gds')
